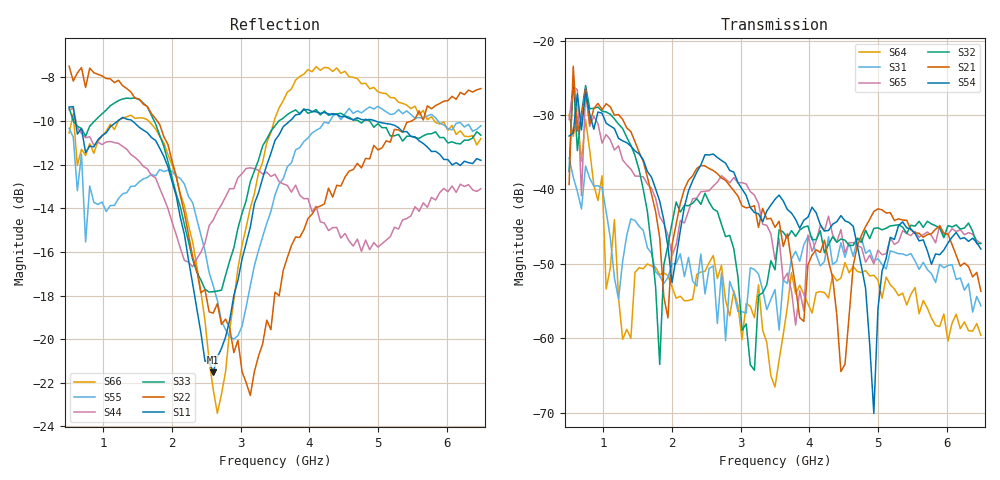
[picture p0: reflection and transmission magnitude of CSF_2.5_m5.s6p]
!Keysight Technologies,M9804A,MY58100912,A.14.10.03
!Date: Thursday, April 27, 2023 10:28:33
!Correction: S11(C  6-Port  )
!S12(C  6-Port  )
!S13(C  6-Port  )
!S14(C  6-Port  )
!S15(C  6-Port  )
!S16(C  6-Port  )
!S21(C  6-Port  )
!S22(C  6-Port  )
!S23(C  6-Port  )
!S24(C  6-Port  )
!S25(C  6-Port  )
!S26(C  6-Port  )
!S31(C  6-Port  )
!S32(C  6-Port  )
!S33(C  6-Port  )
!S34(C  6-Port  )
!S35(C  6-Port  )
!S36(C  6-Port  )
!S41(C  6-Port  )
!S42(C  6-Port  )
!S43(C  6-Port  )
!S44(C  6-Port  )
!S45(C  6-Port  )
!S46(C  6-Port  )
!S51(C  6-Port  )
!S52(C  6-Port  )
!S53(C  6-Port  )
!S54(C  6-Port  )
!S55(C  6-Port  )
!S56(C  6-Port  )
!S61(C  6-Port  )
!S62(C  6-Port  )
!S63(C  6-Port  )
!S64(C  6-Port  )
!S65(C  6-Port  )
!S66(C  6-Port  )
!S6P File: Measurement: :
# Hz S  RI  R 50
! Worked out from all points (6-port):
!   101 points, 500 MHz to 6.5 GHz, reference 50 ohm
!   strongest paths, dB at 500 MHz, 2 GHz, 3.5 GHz, 5 GHz, 6.5 GHz:
!     S54: -32.8, -52.5, -41.3, -56.1, -48.0
!     S21: -39.3, -47.4, -45.1, -42.6, -53.7
!     S32: -37.6, -44.5, -50.8, -45.2, -47.2
!     S65: -30.6, -48.9, -49.4, -48.1, -47.3
!     S31: -35.8, -50.0, -53.4, -49.3, -55.6
!     S64: -30.0, -53.1, -66.5, -52.2, -59.6
!   lowest |S11| = -21.5 dB at 2.6 GHz (marker M1), VSWR 1.18, Z = 42.5 + j2.04 ohm
!   |S11| at or under -10 dB: 591.3 MHz to 1.209 GHz (617.8 MHz wide, 68.6 % of centre); 1.419 GHz to 3.717 GHz (2.298 GHz wide, 89.5 % of centre); 4.962 GHz to end of sweep
